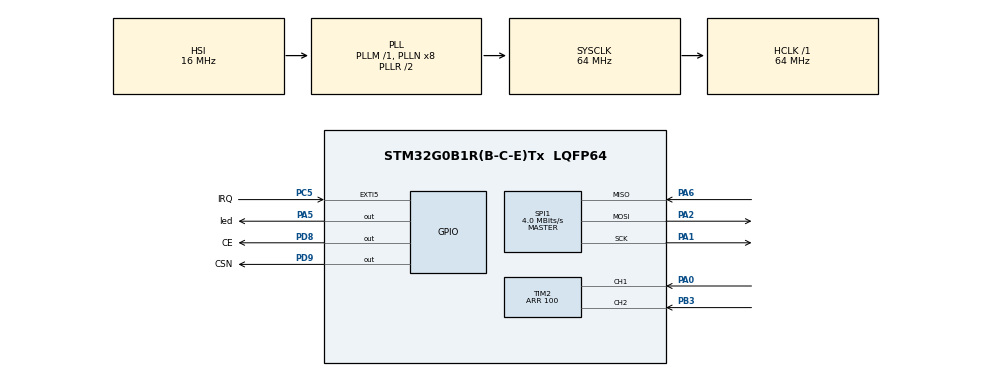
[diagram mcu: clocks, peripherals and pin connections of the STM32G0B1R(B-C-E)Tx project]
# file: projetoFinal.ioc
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Mcu.Family=STM32G0
Mcu.Name=STM32G0B1R(B-C-E)Tx
Mcu.Package=LQFP64
NVIC.SPI1_IRQn=true\:0\:0\:false\:false\:true\:true\:true
NVIC.TIM2_IRQn=true\:0\:0\:false\:false\:true\:true\:true
PA0.Signal=S_TIM2_CH1_ETR
PA1.Mode=Full_Duplex_Master
PA1.Signal=SPI1_SCK
PA13.Mode=Serial_Wire
PA13.Signal=SYS_SWDIO
PA14-BOOT0.Mode=Serial_Wire
PA14-BOOT0.Signal=SYS_SWCLK
PA2.Mode=Full_Duplex_Master
PA2.Signal=SPI1_MOSI
PA5.GPIO_Label=led
PA5.Signal=GPIO_Output
PA6.Mode=Full_Duplex_Master
PA6.Signal=SPI1_MISO
PB3.Signal=S_TIM2_CH2
PC5.GPIO_Label=IRQ
PC5.Signal=GPXTI5
PD8.GPIO_Label=CE
PD8.GPIO_Speed=GPIO_SPEED_FREQ_VERY_HIGH
PD8.PinState=GPIO_PIN_SET
PD8.Signal=GPIO_Output
PD9.GPIO_Label=CSN
PD9.GPIO_Speed=GPIO_SPEED_FREQ_VERY_HIGH
PD9.Signal=GPIO_Output
ProjectManager.HeapSize=0x200
ProjectManager.StackSize=0x400
ProjectManager.TargetToolchain=STM32CubeIDE
RCC.ADCFreq_Value=64000000
RCC.AHBFreq_Value=64000000
RCC.CortexFreq_Value=64000000
RCC.EXTERNAL_CLOCK_VALUE=48000
RCC.HCLKFreq_Value=64000000
RCC.HSE_VALUE=8000000
RCC.HSI48_VALUE=48000000
RCC.HSI_VALUE=16000000
RCC.LSE_VALUE=32768
RCC.SYSCLKFreq_VALUE=64000000
RCC.SYSCLKSource=RCC_SYSCLKSOURCE_PLLCLK
RCC.USBFreq_Value=48000000
RCC.VCOOutputFreq_Value=128000000
SH.S_TIM2_CH1_ETR.0=TIM2_CH1,Encoder_Interface
SH.S_TIM2_CH2.0=TIM2_CH2,Encoder_Interface
SPI1.BaudRatePrescaler=SPI_BAUDRATEPRESCALER_16
SPI1.CalculateBaudRate=4.0 MBits/s
SPI1.Direction=SPI_DIRECTION_2LINES
SPI1.Mode=SPI_MODE_MASTER
SPI1.VirtualType=VM_MASTER
TIM2.EncoderMode=TIM_ENCODERMODE_TI12
TIM2.IC1Filter=0
TIM2.IC1Polarity=TIM_ICPOLARITY_FALLING
TIM2.IC2Filter=0
TIM2.IC2Polarity=TIM_ICPOLARITY_FALLING
TIM2.Period=100
VP_SYS_VS_DBSignals.Mode=DisableDeadBatterySignals
board=custom

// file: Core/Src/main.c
/* USER CODE BEGIN Header */
/**
  ******************************************************************************
  * @file           : main.c
  * @brief          : Main program body
  ******************************************************************************
  * @attention
  *
  * Copyright (c) 2022 STMicroelectronics.
  * All rights reserved.
  *
  * This software is licensed under terms that can be found in the LICENSE file
  * in the root directory of this software component.
  * If no LICENSE file comes with this software, it is provided AS-IS.
  *
  ******************************************************************************
  */
/* USER CODE END Header */
#include "main.h"

/* USER CODE BEGIN Includes */
#include <stdint.h>

#include "string.h"

#include "nrf24.h"

/* USER CODE END Includes */

SPI_HandleTypeDef hspi1;

TIM_HandleTypeDef htim2;

void SystemClock_Config(void);
static void MX_GPIO_Init(void);
static void MX_SPI1_Init(void);
static void MX_TIM2_Init(void);

/* USER CODE BEGIN 0 */
uint8_t data_array[4];
uint8_t tx_address[5] = {0xE7,0xE7,0xE7,0xE7,0xE7}; //E7
uint8_t rx_address[5] = {0xD7,0xD7,0xD7,0xD7,0xD7};
uint32_t counter=0;
void HAL_TIM_IC_CaptureCallback(TIM_HandleTypeDef *htim){
	counter = __HAL_TIM_GET_COUNTER(htim);

}
/* USER CODE END 0 */

int main(void)
{

  /* MCU Configuration--------------------------------------------------------*/

  /* Reset of all peripherals, Initializes the Flash interface and the Systick. */
  HAL_Init();

  /* Configure the system clock */
  SystemClock_Config();

  /* Initialize all configured peripherals */
  MX_GPIO_Init();
  MX_SPI1_Init();
  MX_TIM2_Init();
  /* USER CODE BEGIN 2 */
  HAL_TIM_Encoder_Start_IT(&htim2, TIM_CHANNEL_ALL);
  nrf24_init();

  nrf24_config(2, 1);

	nrf24_tx_address(tx_address);
	nrf24_rx_address(rx_address);

  /* USER CODE END 2 */

  /* Infinite loop */
  /* USER CODE BEGIN WHILE */
  while (1)
  {
	  HAL_GPIO_WritePin(led_GPIO_Port, led_Pin, GPIO_PIN_SET);
	  data_array[0] = counter;
	  nrf24_send(data_array);
	  //nrf24_send(data_array);
	  HAL_Delay(50);
	  HAL_GPIO_WritePin(led_GPIO_Port, led_Pin, GPIO_PIN_RESET);

	  HAL_Delay(1000);
    /* USER CODE END WHILE */

  }
}

void SystemClock_Config(void)
{
  RCC_OscInitTypeDef RCC_OscInitStruct = {0};
  RCC_ClkInitTypeDef RCC_ClkInitStruct = {0};

  /** Configure the main internal regulator output voltage
  */
  HAL_PWREx_ControlVoltageScaling(PWR_REGULATOR_VOLTAGE_SCALE1);
  /** Initializes the RCC Oscillators according to the specified parameters
  * in the RCC_OscInitTypeDef structure.
  */
  RCC_OscInitStruct.OscillatorType = RCC_OSCILLATORTYPE_HSI;
  RCC_OscInitStruct.HSIState = RCC_HSI_ON;
  RCC_OscInitStruct.HSIDiv = RCC_HSI_DIV1;
  RCC_OscInitStruct.HSICalibrationValue = RCC_HSICALIBRATION_DEFAULT;
  RCC_OscInitStruct.PLL.PLLState = RCC_PLL_ON;
  RCC_OscInitStruct.PLL.PLLSource = RCC_PLLSOURCE_HSI;
  RCC_OscInitStruct.PLL.PLLM = RCC_PLLM_DIV1;
  RCC_OscInitStruct.PLL.PLLN = 8;
  RCC_OscInitStruct.PLL.PLLP = RCC_PLLP_DIV2;
  RCC_OscInitStruct.PLL.PLLQ = RCC_PLLQ_DIV2;
  RCC_OscInitStruct.PLL.PLLR = RCC_PLLR_DIV2;
  if (HAL_RCC_OscConfig(&RCC_OscInitStruct) != HAL_OK)
  {
    Error_Handler();
  }
  /** Initializes the CPU, AHB and APB buses clocks
  */
  RCC_ClkInitStruct.ClockType = RCC_CLOCKTYPE_HCLK|RCC_CLOCKTYPE_SYSCLK
                              |RCC_CLOCKTYPE_PCLK1;
  RCC_ClkInitStruct.SYSCLKSource = RCC_SYSCLKSOURCE_PLLCLK;
  RCC_ClkInitStruct.AHBCLKDivider = RCC_SYSCLK_DIV1;
  RCC_ClkInitStruct.APB1CLKDivider = RCC_HCLK_DIV1;

  if (HAL_RCC_ClockConfig(&RCC_ClkInitStruct, FLASH_LATENCY_2) != HAL_OK)
  {
    Error_Handler();
  }
}

static void MX_SPI1_Init(void)
{

  /* SPI1 parameter configuration*/
  hspi1.Instance = SPI1;
  hspi1.Init.Mode = SPI_MODE_MASTER;
  hspi1.Init.Direction = SPI_DIRECTION_2LINES;
  hspi1.Init.DataSize = SPI_DATASIZE_8BIT;
  hspi1.Init.CLKPolarity = SPI_POLARITY_LOW;
  hspi1.Init.CLKPhase = SPI_PHASE_1EDGE;
  hspi1.Init.NSS = SPI_NSS_SOFT;
  hspi1.Init.BaudRatePrescaler = SPI_BAUDRATEPRESCALER_16;
  hspi1.Init.FirstBit = SPI_FIRSTBIT_MSB;
  hspi1.Init.TIMode = SPI_TIMODE_DISABLE;
  hspi1.Init.CRCCalculation = SPI_CRCCALCULATION_DISABLE;
  hspi1.Init.CRCPolynomial = 7;
  hspi1.Init.CRCLength = SPI_CRC_LENGTH_DATASIZE;
  hspi1.Init.NSSPMode = SPI_NSS_PULSE_ENABLE;
  if (HAL_SPI_Init(&hspi1) != HAL_OK)
  {
    Error_Handler();
  }

}

static void MX_TIM2_Init(void)
{

  TIM_Encoder_InitTypeDef sConfig = {0};
  TIM_MasterConfigTypeDef sMasterConfig = {0};

  htim2.Instance = TIM2;
  htim2.Init.Prescaler = 0;
  htim2.Init.CounterMode = TIM_COUNTERMODE_UP;
  htim2.Init.Period = 100;
  htim2.Init.ClockDivision = TIM_CLOCKDIVISION_DIV1;
  htim2.Init.AutoReloadPreload = TIM_AUTORELOAD_PRELOAD_DISABLE;
  sConfig.EncoderMode = TIM_ENCODERMODE_TI12;
  sConfig.IC1Polarity = TIM_ICPOLARITY_FALLING;
  sConfig.IC1Selection = TIM_ICSELECTION_DIRECTTI;
  sConfig.IC1Prescaler = TIM_ICPSC_DIV1;
  sConfig.IC1Filter = 0;
  sConfig.IC2Polarity = TIM_ICPOLARITY_FALLING;
  sConfig.IC2Selection = TIM_ICSELECTION_DIRECTTI;
  sConfig.IC2Prescaler = TIM_ICPSC_DIV1;
  sConfig.IC2Filter = 0;
  if (HAL_TIM_Encoder_Init(&htim2, &sConfig) != HAL_OK)
  {
    Error_Handler();
  }
  sMasterConfig.MasterOutputTrigger = TIM_TRGO_RESET;
  sMasterConfig.MasterSlaveMode = TIM_MASTERSLAVEMODE_DISABLE;
  if (HAL_TIMEx_MasterConfigSynchronization(&htim2, &sMasterConfig) != HAL_OK)
  {
    Error_Handler();
  }

}

static void MX_GPIO_Init(void)
{
  GPIO_InitTypeDef GPIO_InitStruct = {0};

  /* GPIO Ports Clock Enable */
  __HAL_RCC_GPIOA_CLK_ENABLE();
  __HAL_RCC_GPIOC_CLK_ENABLE();
  __HAL_RCC_GPIOD_CLK_ENABLE();
  __HAL_RCC_GPIOB_CLK_ENABLE();

  /*Configure GPIO pin Output Level */
  HAL_GPIO_WritePin(led_GPIO_Port, led_Pin, GPIO_PIN_RESET);

  /*Configure GPIO pin Output Level */
  HAL_GPIO_WritePin(CE_GPIO_Port, CE_Pin, GPIO_PIN_SET);

  /*Configure GPIO pin Output Level */
  HAL_GPIO_WritePin(CSN_GPIO_Port, CSN_Pin, GPIO_PIN_RESET);

  /*Configure GPIO pin : led_Pin */
  GPIO_InitStruct.Pin = led_Pin;
  GPIO_InitStruct.Mode = GPIO_MODE_OUTPUT_PP;
  GPIO_InitStruct.Pull = GPIO_NOPULL;
  GPIO_InitStruct.Speed = GPIO_SPEED_FREQ_LOW;
  HAL_GPIO_Init(led_GPIO_Port, &GPIO_InitStruct);

  /*Configure GPIO pin : IRQ_Pin */
  GPIO_InitStruct.Pin = IRQ_Pin;
  GPIO_InitStruct.Mode = GPIO_MODE_IT_RISING;
  GPIO_InitStruct.Pull = GPIO_NOPULL;
  HAL_GPIO_Init(IRQ_GPIO_Port, &GPIO_InitStruct);

  /*Configure GPIO pins : CE_Pin CSN_Pin */
  GPIO_InitStruct.Pin = CE_Pin|CSN_Pin;
  GPIO_InitStruct.Mode = GPIO_MODE_OUTPUT_PP;
  GPIO_InitStruct.Pull = GPIO_NOPULL;
  GPIO_InitStruct.Speed = GPIO_SPEED_FREQ_VERY_HIGH;
  HAL_GPIO_Init(GPIOD, &GPIO_InitStruct);

}

void Error_Handler(void)
{
  __disable_irq();
  while (1)
  {
  }
}
